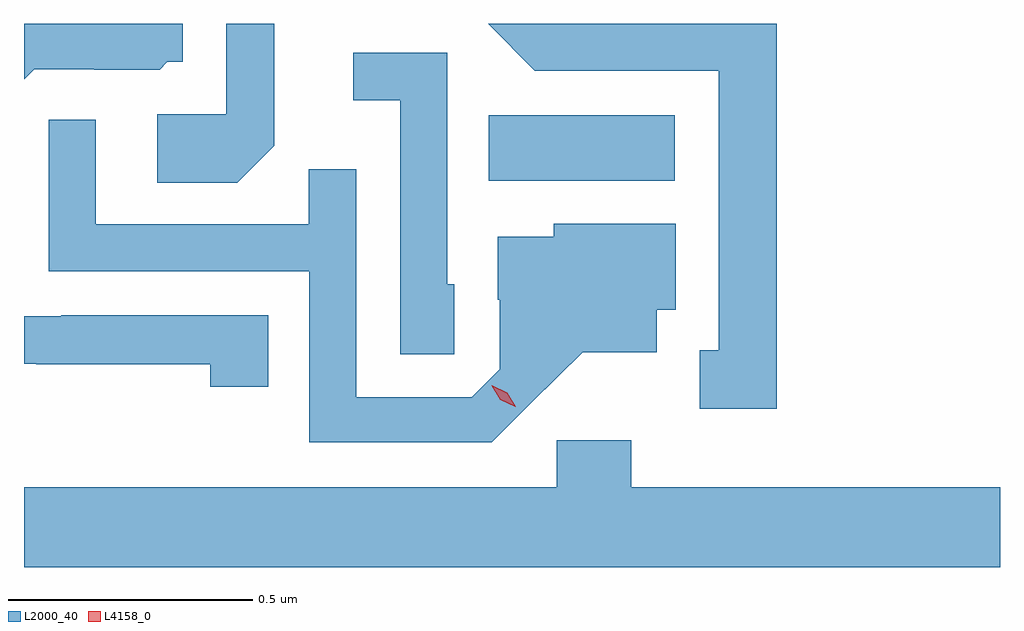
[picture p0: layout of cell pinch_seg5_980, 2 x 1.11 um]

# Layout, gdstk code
import gdstk
lib = gdstk.Library(unit=1e-6, precision=1e-09)
def R(c, l, rs):  # rectangles x0, y0, x1, y1
    for r in rs: c.add(gdstk.rectangle(r[:2], r[2:], *l))
def P(c, l, *ps):  # polygons
    for p in ps: c.add(gdstk.Polygon(p, *l))
L2000_40 = (2000, 40)
L4158_0 = (4158, 0)

pinch_seg5_980 = lib.new_cell('pinch_seg5_980')
R(pinch_seg5_980, L2000_40, [(701.47,893.516,701.851,893.65)])
P(pinch_seg5_980, L2000_40, [(701.031,893.588),(701.031,893.838),(700.932,893.838),(700.932,893.652),(700.791,893.652),(700.791,893.512),(700.955,893.512)],
  [(702.061,893.838),(701.469,893.838),(701.565,893.742),(701.942,893.742),(701.942,893.169),(701.903,893.169),(701.903,893.049),(702.061,893.049)],
  [(700.539,893.745),(700.662,893.745),(700.662,893.744),(700.796,893.744),(700.812,893.76),(700.843,893.76),(700.843,893.838),(700.518,893.838),(700.518,893.724)],
  [(701.4,893.304),(701.385,893.304),(701.385,893.778),(701.193,893.778),(701.193,893.681),(701.289,893.681),(701.289,893.161),(701.4,893.161)],
  [(701.56,893.063),(701.663,893.165),(701.815,893.165),(701.815,893.252),(701.854,893.252),(701.854,893.428),(701.604,893.428),(701.604,893.401),(701.489,893.401),(701.489,893.272),(701.493,893.272),(701.493,893.13),(701.436,893.073),(701.199,893.073),(701.199,893.54),(701.101,893.54),(701.101,893.427),(700.665,893.427),(700.665,893.641),(700.569,893.641),(700.569,893.331),(701.103,893.331),(701.103,892.98),(701.476,892.98)],
  [(701.018,893.241),(700.594,893.241),(700.594,893.238),(700.518,893.238),(700.518,893.141),(700.543,893.141),(700.543,893.14),(700.9,893.14),(700.9,893.094),(701.018,893.094)],
  [(702.518,892.888),(701.762,892.888),(701.762,892.984),(701.61,892.984),(701.61,892.888),(700.518,892.888),(700.518,892.724),(702.518,892.724)])
P(pinch_seg5_980, L4158_0, [(701.525,893.053),(701.494,893.067),(701.476,893.096),(701.476,893.097),(701.477,893.097),(701.508,893.082),(701.526,893.053),(701.526,893.053)])

lib.write_gds('pinch_seg5_980.gds')
